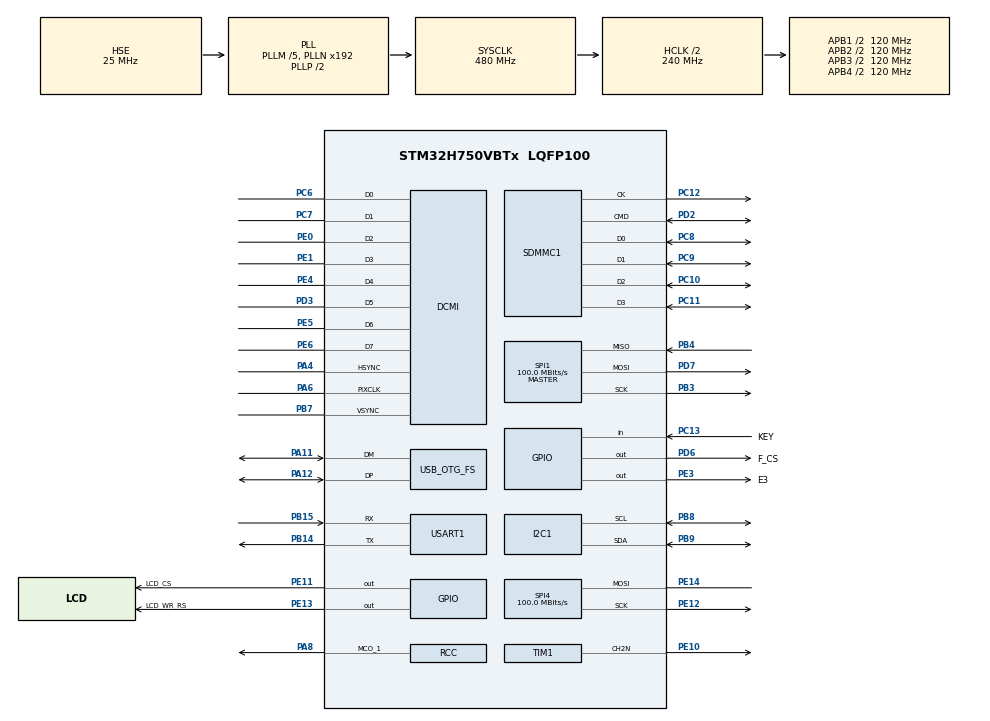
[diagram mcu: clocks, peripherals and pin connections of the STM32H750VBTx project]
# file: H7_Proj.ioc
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ARM.CMSIS.5.6.0.CMSISJjDSP=Library
DCMI.PCKPolarity=DCMI_PCKPOLARITY_RISING
Dma.DCMI.0.Direction=DMA_PERIPH_TO_MEMORY
Dma.DCMI.0.EventEnable=DISABLE
Dma.DCMI.0.FIFOMode=DMA_FIFOMODE_DISABLE
Dma.DCMI.0.Instance=DMA1_Stream0
Dma.DCMI.0.MemDataAlignment=DMA_MDATAALIGN_WORD
Dma.DCMI.0.MemInc=DMA_MINC_ENABLE
Dma.DCMI.0.Mode=DMA_CIRCULAR
Dma.DCMI.0.PeriphDataAlignment=DMA_PDATAALIGN_WORD
Dma.DCMI.0.PeriphInc=DMA_PINC_DISABLE
Dma.DCMI.0.Polarity=HAL_DMAMUX_REQ_GEN_RISING
Dma.DCMI.0.Priority=DMA_PRIORITY_LOW
Dma.DCMI.0.RequestNumber=1
Dma.DCMI.0.SignalID=NONE
Dma.DCMI.0.SyncEnable=DISABLE
Dma.DCMI.0.SyncPolarity=HAL_DMAMUX_SYNC_NO_EVENT
Dma.DCMI.0.SyncRequestNumber=1
Dma.DCMI.0.SyncSignalID=NONE
Dma.Request0=DCMI
I2C1.I2C_Fall_Time=10
I2C1.I2C_Rise_Time=100
I2C1.Timing=0x40805E8A
JPEG.JPEG_RGB_FORMAT=JPEG_RGB565
Mcu.Family=STM32H7
Mcu.Name=STM32H750VBTx
Mcu.Package=LQFP100
Mdma.MDMA_Channel0.JPEG_INFIFO_TH.0.BlockCount=0
Mdma.MDMA_Channel0.JPEG_INFIFO_TH.0.BlockDataLength=0
Mdma.MDMA_Channel0.JPEG_INFIFO_TH.0.BufferTransferLength=32
Mdma.MDMA_Channel0.JPEG_INFIFO_TH.0.CircularMode=MDMA_LINEAR_LIST
Mdma.MDMA_Channel0.JPEG_INFIFO_TH.0.DataAlignment=MDMA_DATAALIGN_PACKENABLE
Mdma.MDMA_Channel0.JPEG_INFIFO_TH.0.DestBlockAddressOffset=0
Mdma.MDMA_Channel0.JPEG_INFIFO_TH.0.DestBurst=MDMA_DEST_BURST_16BEATS
Mdma.MDMA_Channel0.JPEG_INFIFO_TH.0.DestDataSize=MDMA_DEST_DATASIZE_WORD
Mdma.MDMA_Channel0.JPEG_INFIFO_TH.0.DestinationInc=MDMA_DEST_INC_DISABLE
Mdma.MDMA_Channel0.JPEG_INFIFO_TH.0.DstAddress=0
Mdma.MDMA_Channel0.JPEG_INFIFO_TH.0.Endianness=MDMA_LITTLE_ENDIANNESS_PRESERVE
Mdma.MDMA_Channel0.JPEG_INFIFO_TH.0.Instance=MDMA_Channel0
Mdma.MDMA_Channel0.JPEG_INFIFO_TH.0.MaskAddress=0
Mdma.MDMA_Channel0.JPEG_INFIFO_TH.0.MaskData=0
Mdma.MDMA_Channel0.JPEG_INFIFO_TH.0.Priority=MDMA_PRIORITY_HIGH
Mdma.MDMA_Channel0.JPEG_INFIFO_TH.0.Rank=First
Mdma.MDMA_Channel0.JPEG_INFIFO_TH.0.SourceBlockAddressOffset=0
Mdma.MDMA_Channel0.JPEG_INFIFO_TH.0.SourceBurst=MDMA_SOURCE_BURST_32BEATS
Mdma.MDMA_Channel0.JPEG_INFIFO_TH.0.SourceDataSize=MDMA_SRC_DATASIZE_BYTE
Mdma.MDMA_Channel0.JPEG_INFIFO_TH.0.SourceInc=MDMA_SRC_INC_BYTE
Mdma.MDMA_Channel0.JPEG_INFIFO_TH.0.SrcAddress=0
Mdma.MDMA_Channel0.JPEG_INFIFO_TH.0.TransferTriggerMode=MDMA_BUFFER_TRANSFER
Mdma.MDMA_Channel0.Request0=JPEG_INFIFO_TH
Mdma.MDMA_Channel0.RequestsNb=1
Mdma.MDMA_Channel1.JPEG_OUTFIFO_TH.0.BlockCount=0
Mdma.MDMA_Channel1.JPEG_OUTFIFO_TH.0.BlockDataLength=0
Mdma.MDMA_Channel1.JPEG_OUTFIFO_TH.0.BufferTransferLength=32
Mdma.MDMA_Channel1.JPEG_OUTFIFO_TH.0.CircularMode=MDMA_LINEAR_LIST
Mdma.MDMA_Channel1.JPEG_OUTFIFO_TH.0.DataAlignment=MDMA_DATAALIGN_PACKENABLE
Mdma.MDMA_Channel1.JPEG_OUTFIFO_TH.0.DestBlockAddressOffset=0
Mdma.MDMA_Channel1.JPEG_OUTFIFO_TH.0.DestBurst=MDMA_DEST_BURST_32BEATS
Mdma.MDMA_Channel1.JPEG_OUTFIFO_TH.0.DestDataSize=MDMA_DEST_DATASIZE_BYTE
Mdma.MDMA_Channel1.JPEG_OUTFIFO_TH.0.DestinationInc=MDMA_DEST_INC_BYTE
Mdma.MDMA_Channel1.JPEG_OUTFIFO_TH.0.DstAddress=0
Mdma.MDMA_Channel1.JPEG_OUTFIFO_TH.0.Endianness=MDMA_LITTLE_ENDIANNESS_PRESERVE
Mdma.MDMA_Channel1.JPEG_OUTFIFO_TH.0.Instance=MDMA_Channel1
Mdma.MDMA_Channel1.JPEG_OUTFIFO_TH.0.MaskAddress=0
Mdma.MDMA_Channel1.JPEG_OUTFIFO_TH.0.MaskData=0
Mdma.MDMA_Channel1.JPEG_OUTFIFO_TH.0.Priority=MDMA_PRIORITY_HIGH
Mdma.MDMA_Channel1.JPEG_OUTFIFO_TH.0.Rank=First
Mdma.MDMA_Channel1.JPEG_OUTFIFO_TH.0.SourceBlockAddressOffset=0
Mdma.MDMA_Channel1.JPEG_OUTFIFO_TH.0.SourceBurst=MDMA_SOURCE_BURST_32BEATS
Mdma.MDMA_Channel1.JPEG_OUTFIFO_TH.0.SourceDataSize=MDMA_SRC_DATASIZE_WORD
Mdma.MDMA_Channel1.JPEG_OUTFIFO_TH.0.SourceInc=MDMA_SRC_INC_DISABLE
Mdma.MDMA_Channel1.JPEG_OUTFIFO_TH.0.SrcAddress=0
Mdma.MDMA_Channel1.JPEG_OUTFIFO_TH.0.TransferTriggerMode=MDMA_BUFFER_TRANSFER
Mdma.MDMA_Channel1.Request0=JPEG_OUTFIFO_TH
Mdma.MDMA_Channel1.RequestsNb=1
Mdma.RequestSet0=MDMA_Channel0
Mdma.RequestSet1=MDMA_Channel1
Mdma.RequestSetsNb=2
NVIC.DCMI_IRQn=true\:0\:0\:false\:false\:true\:true\:true
NVIC.DMA1_Stream0_IRQn=true\:0\:0\:false\:false\:true\:false\:true
NVIC.JPEG_IRQn=true\:7\:0\:true\:false\:true\:true\:true
NVIC.MDMA_IRQn=true\:8\:0\:true\:false\:true\:true\:true
NVIC.OTG_FS_IRQn=true\:1\:0\:true\:false\:true\:false\:true
NVIC.PriorityGroup=NVIC_PRIORITYGROUP_4
NVIC.SDMMC1_IRQn=true\:0\:0\:false\:false\:true\:true\:true
PA11.Mode=Device_Only
PA11.Signal=USB_OTG_FS_DM
PA12.Mode=Device_Only
PA12.Signal=USB_OTG_FS_DP
PA13\ (JTMS/SWDIO).Mode=Serial_Wire
PA13\ (JTMS/SWDIO).Signal=DEBUG_JTMS-SWDIO
PA14\ (JTCK/SWCLK).Mode=Serial_Wire
PA14\ (JTCK/SWCLK).Signal=DEBUG_JTCK-SWCLK
PA4.Mode=Slave_8_bits_External_Synchro
PA4.Signal=DCMI_HSYNC
PA6.Mode=Slave_8_bits_External_Synchro
PA6.Signal=DCMI_PIXCLK
PA8.GPIO_Speed=GPIO_SPEED_FREQ_HIGH
PA8.Mode=Clock-out-1
PA8.Signal=RCC_MCO_1
PB14.Mode=Asynchronous
PB14.Signal=USART1_TX
PB15.Mode=Asynchronous
PB15.Signal=USART1_RX
PB3\ (JTDO/TRACESWO).GPIO_Speed=GPIO_SPEED_FREQ_VERY_HIGH
PB3\ (JTDO/TRACESWO).Mode=Full_Duplex_Master
PB3\ (JTDO/TRACESWO).Signal=SPI1_SCK
PB4\ (NJTRST).GPIO_Speed=GPIO_SPEED_FREQ_VERY_HIGH
PB4\ (NJTRST).Mode=Full_Duplex_Master
PB4\ (NJTRST).Signal=SPI1_MISO
PB7.Mode=Slave_8_bits_External_Synchro
PB7.Signal=DCMI_VSYNC
PB8.Mode=I2C
PB8.Signal=I2C1_SCL
PB9.Mode=I2C
PB9.Signal=I2C1_SDA
PC10.Mode=SD_4_bits_Wide_bus
PC10.Signal=SDMMC1_D2
PC11.Mode=SD_4_bits_Wide_bus
PC11.Signal=SDMMC1_D3
PC12.Mode=SD_4_bits_Wide_bus
PC12.Signal=SDMMC1_CK
PC13.GPIO_Label=KEY
PC13.GPIO_PuPd=GPIO_PULLDOWN
PC13.Signal=GPIO_Input
PC14-OSC32_IN\ (OSC32_IN).Mode=LSE-External-Oscillator
PC14-OSC32_IN\ (OSC32_IN).Signal=RCC_OSC32_IN
PC15-OSC32_OUT\ (OSC32_OUT).Mode=LSE-External-Oscillator
PC15-OSC32_OUT\ (OSC32_OUT).Signal=RCC_OSC32_OUT
PC6.Mode=Slave_8_bits_External_Synchro
PC6.Signal=DCMI_D0
PC7.Mode=Slave_8_bits_External_Synchro
PC7.Signal=DCMI_D1
PC8.Mode=SD_4_bits_Wide_bus
PC8.Signal=SDMMC1_D0
PC9.Mode=SD_4_bits_Wide_bus
PC9.Signal=SDMMC1_D1
PD2.Mode=SD_4_bits_Wide_bus
PD2.Signal=SDMMC1_CMD
PD3.Mode=Slave_8_bits_External_Synchro
PD3.Signal=DCMI_D5
PD6.GPIO_Label=F_CS
PD6.GPIO_Speed=GPIO_SPEED_FREQ_VERY_HIGH
PD6.PinState=GPIO_PIN_SET
PD6.Signal=GPIO_Output
PD7.GPIO_Speed=GPIO_SPEED_FREQ_VERY_HIGH
PD7.Mode=Full_Duplex_Master
PD7.Signal=SPI1_MOSI
PE0.Mode=Slave_8_bits_External_Synchro
PE0.Signal=DCMI_D2
PE1.Mode=Slave_8_bits_External_Synchro
PE1.Signal=DCMI_D3
PE10.Mode=PWM Generation2 CH2N
PE10.Signal=TIM1_CH2N
PE11.GPIO_Label=LCD_CS
PE11.GPIO_Speed=GPIO_SPEED_FREQ_VERY_HIGH
PE11.PinState=GPIO_PIN_SET
PE11.Signal=GPIO_Output
PE12.GPIO_Speed=GPIO_SPEED_FREQ_VERY_HIGH
PE12.Mode=Simplex_Bidirectional_Master
PE12.Signal=SPI4_SCK
PE13.GPIO_Label=LCD_WR_RS
PE13.GPIO_Speed=GPIO_SPEED_FREQ_VERY_HIGH
PE13.PinState=GPIO_PIN_SET
PE13.Signal=GPIO_Output
PE14.GPIO_Speed=GPIO_SPEED_FREQ_VERY_HIGH
PE14.Mode=Simplex_Bidirectional_Master
PE14.Signal=SPI4_MOSI
PE3.GPIO_Label=E3
PE3.PinState=GPIO_PIN_RESET
PE3.Signal=GPIO_Output
PE4.Mode=Slave_8_bits_External_Synchro
PE4.Signal=DCMI_D4
PE5.Mode=Slave_8_bits_External_Synchro
PE5.Signal=DCMI_D6
PE6.Mode=Slave_8_bits_External_Synchro
PE6.Signal=DCMI_D7
PH0-OSC_IN\ (PH0).Mode=HSE-External-Oscillator
PH0-OSC_IN\ (PH0).Signal=RCC_OSC_IN
PH1-OSC_OUT\ (PH1).Mode=HSE-External-Oscillator
PH1-OSC_OUT\ (PH1).Signal=RCC_OSC_OUT
ProjectManager.HeapSize=0x2000
ProjectManager.StackSize=0x2000
ProjectManager.TargetToolchain=MDK-ARM V5.27
RCC.ADCFreq_Value=200000000
RCC.APB1Freq_Value=120000000
RCC.APB2Freq_Value=120000000
RCC.APB3Freq_Value=120000000
RCC.APB4Freq_Value=120000000
RCC.CortexFreq_Value=480000000
RCC.D1PPRE=RCC_APB3_DIV2
RCC.D2PPRE1=RCC_APB1_DIV2
RCC.D2PPRE2=RCC_APB2_DIV2
RCC.D3PPRE=RCC_APB4_DIV2
RCC.DIVM1=5
RCC.DIVM2=2
RCC.DIVM3=4
RCC.DIVN1=192
RCC.DIVN2=32
RCC.DIVN3=96
RCC.DIVP3=5
RCC.DIVQ3=5
RCC.DIVR1=4
RCC.HCLKFreq_Value=240000000
RCC.HPRE=RCC_HCLK_DIV2
RCC.PLL2FRACN=0
RCC.PLL3FRACN=0
RCC.PLLFRACN=0
RCC.PLLSourceVirtual=RCC_PLLSOURCE_HSE
RCC.RCC_MCO1Source=RCC_MCO1SOURCE_HSI48
RCC.RCC_MCODiv1=RCC_MCODIV_4
RCC.SPI123CLockSelection=RCC_SPI123CLKSOURCE_PLL2
RCC.SYSCLKFreq_VALUE=480000000
RCC.SYSCLKSource=RCC_SYSCLKSOURCE_PLLCLK
RCC.Spi45ClockSelection=RCC_SPI45CLKSOURCE_PLL2
RCC.SupplySource=PWR_LDO_SUPPLY
RCC.USBCLockSelection=RCC_USBCLKSOURCE_HSI48
RCC.USBFreq_Value=48000000
SDMMC1.ClockDiv=16
SPI1.BaudRatePrescaler=SPI_BAUDRATEPRESCALER_2
SPI1.CLKPolarity=SPI_POLARITY_LOW
SPI1.CalculateBaudRate=100.0 MBits/s
SPI1.DataSize=SPI_DATASIZE_8BIT
SPI1.Direction=SPI_DIRECTION_2LINES
SPI1.Mode=SPI_MODE_MASTER
SPI1.VirtualType=VM_MASTER
SPI4.BaudRatePrescaler=SPI_BAUDRATEPRESCALER_2
SPI4.CLKPolarity=SPI_POLARITY_LOW
SPI4.CalculateBaudRate=100.0 MBits/s
SPI4.DataSize=SPI_DATASIZE_8BIT
SPI4.Direction=SPI_DIRECTION_1LINE
SPI4.Mode=SPI_MODE_MASTER
SPI4.VirtualType=VM_MASTER
TIM1.Channel-PWM\ Generation2\ CH2N=TIM_CHANNEL_2
TIM1.OCNPolarity_2=TIM_OCNPOLARITY_LOW
TIM1.Period=100-1
TIM1.Prescaler=120-1
USART1.VirtualMode-Asynchronous=VM_ASYNC
USB_DEVICE.CLASS_NAME_FS=MSC
USB_DEVICE.MSC_MEDIA_PACKET-MSC_FS=4096
USB_DEVICE.VirtualMode-MSC_FS=Msc
USB_DEVICE.VirtualModeFS=Msc_FS
USB_OTG_FS.VirtualMode=Device_Only
USB_OTG_FS.dma_enable=ENABLE
VP_JPEG_VS_JPEG.Mode=JPEG_Activate
VP_RTC_VS_RTC_Activate.Mode=RTC_Enabled
VP_USB_DEVICE_VS_USB_DEVICE_MSC_FS.Mode=MSC_FS
board=custom

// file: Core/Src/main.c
/* USER CODE BEGIN Header */
/**
  ******************************************************************************
  * @file           : main.c
  * @brief          : Main program body
  ******************************************************************************
  * @attention
  *
  * <h2><center>&copy; Copyright (c) 2020 STMicroelectronics.
  * All rights reserved.</center></h2>
  *
  * This software component is licensed by ST under Ultimate Liberty license
  * SLA0044, the "License"; You may not use this file except in compliance with
  * the License. You may obtain a copy of the License at:
  *                             www.st.com/SLA0044
  *
  ******************************************************************************
  */
/* USER CODE END Header */
#include "main.h"
#include "dcmi.h"
#include "dma.h"
#include "i2c.h"
#include "jpeg.h"
#include "mdma.h"
#include "rtc.h"
#include "sdmmc.h"
#include "spi.h"
#include "tim.h"
#include "usart.h"
#include "usb_device.h"
#include "gpio.h"

/* USER CODE BEGIN Includes */
#include "lvgl.h"
#include "lv_port_disp_template.h"
#include "lv_port_indev_template.h"
#include "lv_port_fs_template.h"
#include "lv_demo_benchmark.h"
#include "w25qxx.h"
#include <stdio.h>
#include "fatfs-demo.h"
#include "arm_math.h"
#include "SD_Card.h"
#include "camera.h"
#include "lcd.h"
//#include "lv_freetype.h"
/* USER CODE END Includes */

/* USER CODE BEGIN PV */

//void Camera_Size_Disp(uint16_t width,uint16_t height)
//{
//	uint16_t Data[width][height];
//	for(int i=0;i<width;i++)
//		for(int j=0;j<height;j++)
//			Data[i][j] = pic[j][i];
//	ST7735_FillRGBRect(&st7735_pObj,0,0,(uint8_t*)&Data[0][0], width, height);
//}
/* USER CODE END PV */

void SystemClock_Config(void);

/* USER CODE BEGIN 0 */
static void MPU_Config(void)
{
  MPU_Region_InitTypeDef MPU_InitStruct = {0};

  /* Disables the MPU */
  HAL_MPU_Disable();

	/* Configure the MPU attributes for the QSPI 256MB without instruction access */
  MPU_InitStruct.Enable           = MPU_REGION_ENABLE;
  MPU_InitStruct.Number           = MPU_REGION_NUMBER0;
  MPU_InitStruct.BaseAddress      = QSPI_BASE;
  MPU_InitStruct.Size             = MPU_REGION_SIZE_256MB;
  MPU_InitStruct.AccessPermission = MPU_REGION_NO_ACCESS;
  MPU_InitStruct.IsBufferable     = MPU_ACCESS_NOT_BUFFERABLE;
  MPU_InitStruct.IsCacheable      = MPU_ACCESS_NOT_CACHEABLE;
  MPU_InitStruct.IsShareable      = MPU_ACCESS_NOT_SHAREABLE;
  MPU_InitStruct.DisableExec      = MPU_INSTRUCTION_ACCESS_DISABLE;
  MPU_InitStruct.TypeExtField     = MPU_TEX_LEVEL1;
  MPU_InitStruct.SubRegionDisable = 0x00;
  HAL_MPU_ConfigRegion(&MPU_InitStruct);

  /* Configure the MPU attributes for the QSPI 8MB (QSPI Flash Size) to Cacheable WT */
  MPU_InitStruct.Enable           = MPU_REGION_ENABLE;
  MPU_InitStruct.Number           = MPU_REGION_NUMBER1;
  MPU_InitStruct.BaseAddress      = QSPI_BASE;
  MPU_InitStruct.Size             = MPU_REGION_SIZE_8MB;
  MPU_InitStruct.AccessPermission = MPU_REGION_PRIV_RO;
  MPU_InitStruct.IsBufferable     = MPU_ACCESS_BUFFERABLE;
  MPU_InitStruct.IsCacheable      = MPU_ACCESS_CACHEABLE;
  MPU_InitStruct.IsShareable      = MPU_ACCESS_NOT_SHAREABLE;
  MPU_InitStruct.DisableExec      = MPU_INSTRUCTION_ACCESS_ENABLE;
  MPU_InitStruct.TypeExtField     = MPU_TEX_LEVEL1;
  MPU_InitStruct.SubRegionDisable = 0x00;
  HAL_MPU_ConfigRegion(&MPU_InitStruct);

	/* Setup AXI SRAM in Cacheable WB */
  MPU_InitStruct.Enable           = MPU_REGION_ENABLE;
  MPU_InitStruct.BaseAddress      = D1_AXISRAM_BASE;
  MPU_InitStruct.Size             = MPU_REGION_SIZE_512KB;
  MPU_InitStruct.AccessPermission = MPU_REGION_FULL_ACCESS;
  MPU_InitStruct.IsBufferable     = MPU_ACCESS_BUFFERABLE;
  MPU_InitStruct.IsCacheable      = MPU_ACCESS_CACHEABLE;
  MPU_InitStruct.IsShareable      = MPU_ACCESS_SHAREABLE;
  MPU_InitStruct.Number           = MPU_REGION_NUMBER2;
  MPU_InitStruct.TypeExtField     = MPU_TEX_LEVEL1;
  MPU_InitStruct.SubRegionDisable = 0x00;
  MPU_InitStruct.DisableExec      = MPU_INSTRUCTION_ACCESS_ENABLE;
  HAL_MPU_ConfigRegion(&MPU_InitStruct);

  /* Enables the MPU */
  HAL_MPU_Enable(MPU_PRIVILEGED_DEFAULT);
}

static void CPU_CACHE_Enable(void)
{
  /* Enable I-Cache */
  SCB_EnableICache();

  /* Enable D-Cache */
  SCB_EnableDCache();
}

/* USER CODE END 0 */

int main(void)
{
  /* USER CODE BEGIN 1 */
  SCB->VTOR = QSPI_BASE;
  MPU_Config();
  CPU_CACHE_Enable();

  /* USER CODE END 1 */

  /* MCU Configuration--------------------------------------------------------*/

  /* Reset of all peripherals, Initializes the Flash interface and the Systick. */
  HAL_Init();

  /* Configure the system clock */
  SystemClock_Config();

  /* Initialize all configured peripherals */
  MX_GPIO_Init();
  MX_DMA_Init();
  MX_MDMA_Init();
  MX_RTC_Init();
  MX_SPI1_Init();
  MX_SPI4_Init();
  MX_TIM1_Init();
  MX_USB_DEVICE_Init();
  MX_SDMMC1_SD_Init();
  MX_USART1_UART_Init();
  MX_JPEG_Init();
  MX_DCMI_Init();
  MX_I2C1_Init();
  /* USER CODE BEGIN 2 */
	Camera_Init_Device(&hi2c1, FRAMESIZE_QQVGA);
	lv_init();
	lv_port_disp_init();
	lv_port_fs_init();
	lv_port_indev_init();
//	lv_freetype_init(1);
	lv_demo_benchmark();

//
  /* USER CODE END 2 */

  /* Infinite loop */
  while (1)
  {

    /* USER CODE BEGIN 3 */

//	if (DCMI_FrameIsReady)
//    {
//      DCMI_FrameIsReady = 0;
//	  ST7735_FillRGBRect(&st7735_pObj,0,0,(uint8_t *)&pic[0][0], 160, 80);
//	}

	  lv_task_handler();
	  HAL_Delay(30);
  }

  /* USER CODE END 3 */
}

void SystemClock_Config(void)
{
  RCC_OscInitTypeDef RCC_OscInitStruct = {0};
  RCC_ClkInitTypeDef RCC_ClkInitStruct = {0};
  RCC_PeriphCLKInitTypeDef PeriphClkInitStruct = {0};

  /** Supply configuration update enable
  */
  HAL_PWREx_ConfigSupply(PWR_LDO_SUPPLY);
  /** Configure the main internal regulator output voltage
  */
  __HAL_PWR_VOLTAGESCALING_CONFIG(PWR_REGULATOR_VOLTAGE_SCALE0);

  while(!__HAL_PWR_GET_FLAG(PWR_FLAG_VOSRDY)) {}
  /** Macro to configure the PLL clock source
  */
  __HAL_RCC_PLL_PLLSOURCE_CONFIG(RCC_PLLSOURCE_HSE);
  /** Initializes the RCC Oscillators according to the specified parameters
  * in the RCC_OscInitTypeDef structure.
  */
  RCC_OscInitStruct.OscillatorType = RCC_OSCILLATORTYPE_HSI48|RCC_OSCILLATORTYPE_LSI
                              |RCC_OSCILLATORTYPE_HSE;
  RCC_OscInitStruct.HSEState = RCC_HSE_ON;
  RCC_OscInitStruct.LSIState = RCC_LSI_ON;
  RCC_OscInitStruct.HSI48State = RCC_HSI48_ON;
  RCC_OscInitStruct.PLL.PLLState = RCC_PLL_ON;
  RCC_OscInitStruct.PLL.PLLSource = RCC_PLLSOURCE_HSE;
  RCC_OscInitStruct.PLL.PLLM = 5;
  RCC_OscInitStruct.PLL.PLLN = 192;
  RCC_OscInitStruct.PLL.PLLP = 2;
  RCC_OscInitStruct.PLL.PLLQ = 2;
  RCC_OscInitStruct.PLL.PLLR = 4;
  RCC_OscInitStruct.PLL.PLLRGE = RCC_PLL1VCIRANGE_2;
  RCC_OscInitStruct.PLL.PLLVCOSEL = RCC_PLL1VCOWIDE;
  RCC_OscInitStruct.PLL.PLLFRACN = 0;
  if (HAL_RCC_OscConfig(&RCC_OscInitStruct) != HAL_OK)
  {
    Error_Handler();
  }
  /** Initializes the CPU, AHB and APB buses clocks
  */
  RCC_ClkInitStruct.ClockType = RCC_CLOCKTYPE_HCLK|RCC_CLOCKTYPE_SYSCLK
                              |RCC_CLOCKTYPE_PCLK1|RCC_CLOCKTYPE_PCLK2
                              |RCC_CLOCKTYPE_D3PCLK1|RCC_CLOCKTYPE_D1PCLK1;
  RCC_ClkInitStruct.SYSCLKSource = RCC_SYSCLKSOURCE_PLLCLK;
  RCC_ClkInitStruct.SYSCLKDivider = RCC_SYSCLK_DIV1;
  RCC_ClkInitStruct.AHBCLKDivider = RCC_HCLK_DIV2;
  RCC_ClkInitStruct.APB3CLKDivider = RCC_APB3_DIV2;
  RCC_ClkInitStruct.APB1CLKDivider = RCC_APB1_DIV2;
  RCC_ClkInitStruct.APB2CLKDivider = RCC_APB2_DIV2;
  RCC_ClkInitStruct.APB4CLKDivider = RCC_APB4_DIV2;

  if (HAL_RCC_ClockConfig(&RCC_ClkInitStruct, FLASH_LATENCY_4) != HAL_OK)
  {
    Error_Handler();
  }
  PeriphClkInitStruct.PeriphClockSelection = RCC_PERIPHCLK_RTC|RCC_PERIPHCLK_USART1
                              |RCC_PERIPHCLK_SPI4|RCC_PERIPHCLK_SPI1
                              |RCC_PERIPHCLK_SDMMC|RCC_PERIPHCLK_I2C1
                              |RCC_PERIPHCLK_USB;
  PeriphClkInitStruct.PLL2.PLL2M = 2;
  PeriphClkInitStruct.PLL2.PLL2N = 32;
  PeriphClkInitStruct.PLL2.PLL2P = 2;
  PeriphClkInitStruct.PLL2.PLL2Q = 2;
  PeriphClkInitStruct.PLL2.PLL2R = 2;
  PeriphClkInitStruct.PLL2.PLL2RGE = RCC_PLL2VCIRANGE_3;
  PeriphClkInitStruct.PLL2.PLL2VCOSEL = RCC_PLL2VCOWIDE;
  PeriphClkInitStruct.PLL2.PLL2FRACN = 0;
  PeriphClkInitStruct.SdmmcClockSelection = RCC_SDMMCCLKSOURCE_PLL;
  PeriphClkInitStruct.Spi123ClockSelection = RCC_SPI123CLKSOURCE_PLL2;
  PeriphClkInitStruct.Spi45ClockSelection = RCC_SPI45CLKSOURCE_PLL2;
  PeriphClkInitStruct.Usart16ClockSelection = RCC_USART16CLKSOURCE_D2PCLK2;
  PeriphClkInitStruct.I2c123ClockSelection = RCC_I2C123CLKSOURCE_D2PCLK1;
  PeriphClkInitStruct.UsbClockSelection = RCC_USBCLKSOURCE_HSI48;
  PeriphClkInitStruct.RTCClockSelection = RCC_RTCCLKSOURCE_LSI;
  if (HAL_RCCEx_PeriphCLKConfig(&PeriphClkInitStruct) != HAL_OK)
  {
    Error_Handler();
  }
  HAL_RCC_MCOConfig(RCC_MCO1, RCC_MCO1SOURCE_HSI48, RCC_MCODIV_4);
  /** Enable USB Voltage detector
  */
  HAL_PWREx_EnableUSBVoltageDetector();
}

/* USER CODE BEGIN 4 */
void HAL_DCMI_FrameEventCallback(DCMI_HandleTypeDef *hdcmi)
{
//    DCMI_FrameIsReady = 1;
//	HAL_DCMI_Stop(hdcmi);
//	printf("image:%d,%d,%d,%d,%d\n",1,160*120,160,120,7);
//	HAL_UART_Transmit(&huart1,(uint8_t*)pic,160*120,0xffff);
}
/* USER CODE END 4 */

void Error_Handler(void)
{
}

/************************ (C) COPYRIGHT STMicroelectronics *****END OF FILE****/
